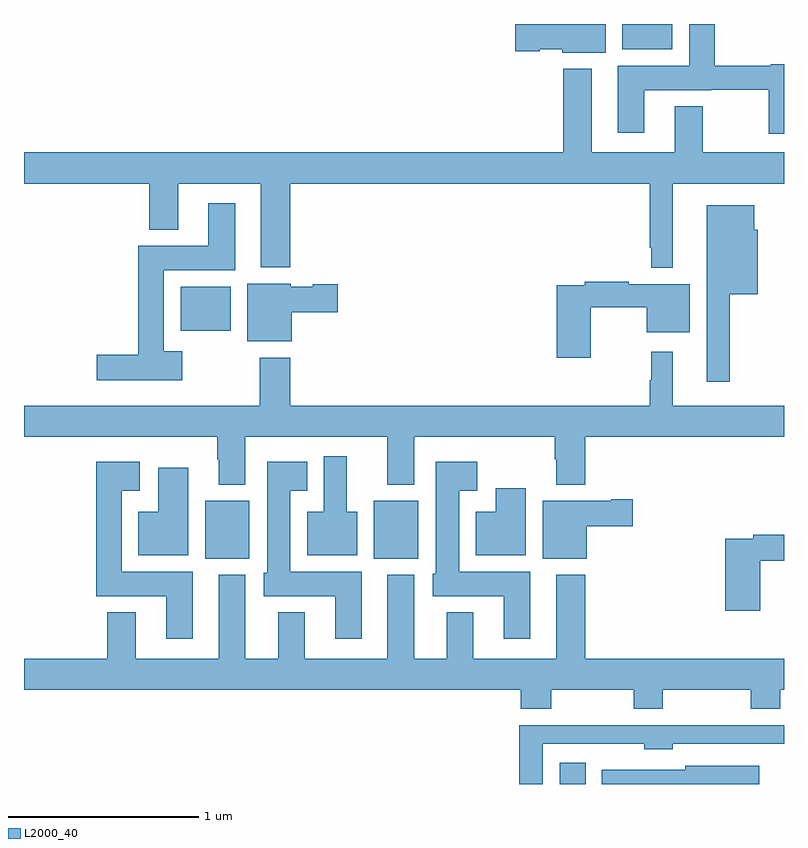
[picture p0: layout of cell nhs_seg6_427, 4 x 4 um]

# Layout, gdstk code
import gdstk
lib = gdstk.Library(unit=1e-6, precision=1e-09)
def R(c, l, rs):  # rectangles x0, y0, x1, y1
    for r in rs: c.add(gdstk.rectangle(r[:2], r[2:], *l))
def P(c, l, *ps):  # polygons
    for p in ps: c.add(gdstk.Polygon(p, *l))
L2000_40 = (2000, 40)

nhs_seg6_427 = lib.new_cell('nhs_seg6_427')
R(nhs_seg6_427, L2000_40, [(137.819,953.5,137.956,953.611), (135.953,954.686,136.186,954.991), (136.841,954.686,137.074,954.991), (135.824,955.886,136.087,956.116), (138.149,957.368,138.412,957.5)])
P(nhs_seg6_427, L2000_40, [(139,957.289),(138.93,957.289),(138.93,957.281),(138.635,957.281),(138.635,957.5),(138.5,957.5),(138.5,957.28),(138.125,957.28),(138.125,956.928),(138.265,956.928),(138.265,957.152),(138.618,957.152),(138.618,957.153),(138.919,957.153),(138.919,956.922),(139,956.922)],
  [(138.061,957.5),(137.586,957.5),(137.586,957.356),(137.715,957.356),(137.715,957.368),(137.832,957.368),(137.832,957.35),(138.061,957.35)],
  [(138.415,956.66),(139,956.66),(139,956.824),(138.573,956.824),(138.573,957.067),(138.425,957.067),(138.425,956.824),(137.989,956.824),(137.989,957.265),(137.837,957.265),(137.837,956.824),(135,956.824),(135,956.66),(135.659,956.66),(135.659,956.417),(135.811,956.417),(135.811,956.66),(136.247,956.66),(136.247,956.219),(136.4,956.219),(136.4,956.66),(138.294,956.66),(138.294,956.323),(138.3,956.323),(138.3,956.216),(138.415,956.216)],
  [(135.832,955.777),(135.736,955.777),(135.736,956.204),(136.111,956.204),(136.111,956.557),(135.971,956.557),(135.971,956.332),(135.602,956.332),(135.602,955.76),(135.384,955.76),(135.384,955.625),(135.832,955.625)],
  [(138.715,956.078),(138.862,956.078),(138.862,956.418),(138.844,956.418),(138.844,956.545),(138.593,956.545),(138.593,955.617),(138.715,955.617)],
  [(137.982,956.008),(138.278,956.008),(138.278,955.877),(138.505,955.877),(138.505,956.131),(138.182,956.131),(138.182,956.144),(137.95,956.144),(137.95,956.124),(137.804,956.124),(137.804,955.743),(137.982,955.743)],
  [(136.408,955.982),(136.651,955.982),(136.651,956.129),(136.521,956.129),(136.521,956.116),(136.404,956.116),(136.404,956.134),(136.175,956.134),(136.175,955.829),(136.408,955.829)],
  [(136.165,955.328),(136.913,955.328),(136.913,955.076),(137.053,955.076),(137.053,955.328),(137.794,955.328),(137.794,955.208),(137.801,955.208),(137.801,955.076),(137.954,955.076),(137.954,955.328),(139,955.328),(139,955.492),(138.415,955.492),(138.415,955.774),(138.301,955.774),(138.301,955.625),(138.294,955.625),(138.294,955.492),(136.4,955.492),(136.4,955.744),(136.24,955.744),(136.24,955.492),(135,955.492),(135,955.328),(136.018,955.328),(136.018,955.208),(136.025,955.208),(136.025,955.076),(136.165,955.076)],
  [(136.753,954.934),(136.699,954.934),(136.699,955.225),(136.577,955.225),(136.577,954.934),(136.49,954.934),(136.49,954.704),(136.753,954.704)],
  [(135.889,954.616),(135.514,954.616),(135.514,955.043),(135.61,955.043),(135.61,955.195),(135.38,955.195),(135.38,954.488),(135.749,954.488),(135.749,954.264),(135.889,954.264)],
  [(137.665,954.616),(137.29,954.616),(137.29,955.043),(137.386,955.043),(137.386,955.195),(137.168,955.195),(137.168,954.606),(137.15,954.606),(137.15,954.488),(137.525,954.488),(137.525,954.264),(137.665,954.264)],
  [(136.777,954.616),(136.402,954.616),(136.402,955.043),(136.492,955.043),(136.492,955.195),(136.28,955.195),(136.28,954.612),(136.262,954.612),(136.262,954.488),(136.637,954.488),(136.637,954.264),(136.777,954.264)],
  [(135.865,955.165),(135.707,955.165),(135.707,954.934),(135.602,954.934),(135.602,954.704),(135.865,954.704)],
  [(137.641,955.057),(137.483,955.057),(137.483,954.934),(137.378,954.934),(137.378,954.704),(137.641,954.704)],
  [(137.962,954.857),(138.205,954.857),(138.205,954.999),(138.092,954.999),(138.092,954.991),(137.729,954.991),(137.729,954.686),(137.962,954.686)],
  [(138.875,954.676),(139,954.676),(139,954.812),(138.838,954.812),(138.838,954.792),(138.692,954.792),(138.692,954.411),(138.875,954.411)],
  [(137.775,953.996),(138.208,953.996),(138.208,953.897),(138.363,953.897),(138.363,953.996),(138.826,953.996),(138.826,953.897),(138.981,953.897),(138.981,953.996),(139,953.996),(139,954.16),(137.954,954.16),(137.954,954.601),(137.801,954.601),(137.801,954.16),(137.365,954.16),(137.365,954.403),(137.225,954.403),(137.225,954.16),(137.053,954.16),(137.053,954.601),(136.913,954.601),(136.913,954.16),(136.477,954.16),(136.477,954.403),(136.337,954.403),(136.337,954.16),(136.165,954.16),(136.165,954.601),(136.025,954.601),(136.025,954.16),(135.589,954.16),(135.589,954.403),(135.437,954.403),(135.437,954.16),(135,954.16),(135,953.996),(137.615,953.996),(137.615,953.897),(137.775,953.897)],
  [(137.731,953.712),(138.052,953.712),(138.052,953.711),(138.264,953.711),(138.264,953.684),(138.414,953.684),(138.414,953.712),(139,953.712),(139,953.808),(138.737,953.808),(138.737,953.81),(137.606,953.81),(137.606,953.5),(137.731,953.5)],
  [(138.871,953.596),(138.48,953.596),(138.48,953.574),(138.041,953.574),(138.041,953.5),(138.871,953.5)])

lib.write_gds('nhs_seg6_427.gds')
